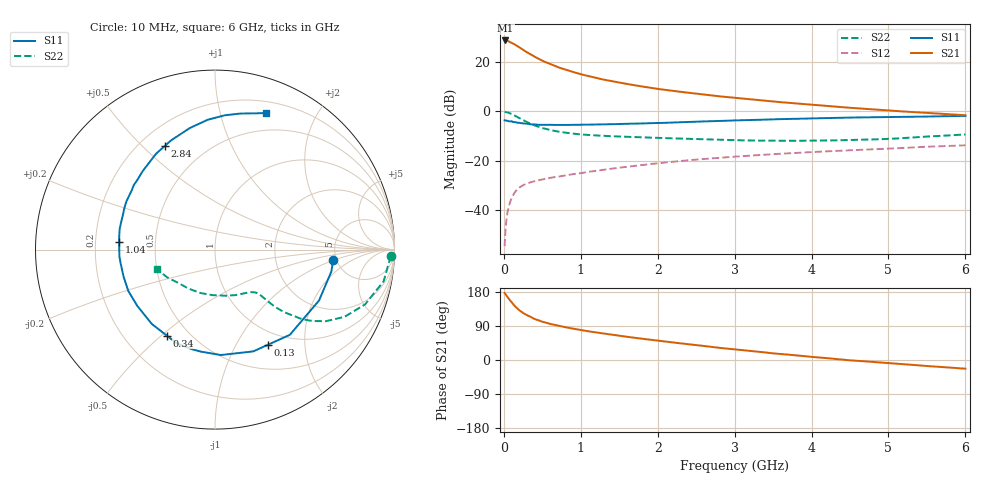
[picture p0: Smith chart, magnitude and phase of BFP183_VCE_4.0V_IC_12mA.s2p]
! Infineon Technologies  Discrete & RF Semiconductors
! BFP183
! VCE = 4.0 V,  IC =  12 mA
! Common Emitter S-Parameters:  Jan 2016
# GHz  S  MA  R  50
!  f  S11  S21  S12  S22
! GHz  MAG  ANG  MAG  ANG  MAG  ANG  MAG  ANG
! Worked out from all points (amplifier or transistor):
!   210 points, 10 MHz to 6 GHz, reference 50 ohm
!   highest |S21| = 28.9 dB at 20 MHz (marker M1)
!   |S21| within 3 dB of that: start of sweep to 211 MHz
!   unconditionally stable (mu >= 1): 1.103 GHz to 5.626 GHz
!   at 185 MHz: K = 0.28, MSG = 29.0 dB, |S12| = -31.5 dB
!   at 1.52 GHz: K = 1.10, MAG = 15.3 dB, |S12| = -22.8 dB
!   at 6 GHz: K = 0.95, MSG = 6.1 dB, |S12| = -13.8 dB
!   S11 on the Smith chart (normalised r, x): 10 MHz: 4.69, -0.96; 130 MHz: 0.81, -1.36; 340 MHz: 0.38, -0.52; 1.04 GHz: 0.30, +0.04; 2.84 GHz: 0.30, +0.59; 6 GHz: 0.31, +1.39
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0.01  0.6609 -5.0  27.87 176.9  0.0018 82.5  0.9815 -2.1
0.02  0.6597 -10.7  27.93 174.3  0.0035 89.6  0.972 -4.2
0.05  0.6454 -26.0  27.38 165.3  0.0093 80.0  0.9562 -10.6
0.07  0.6281 -34.9  26.32 160.3  0.0124 73.3  0.927 -14.2
0.1  0.632 -48.7  25.13 152.2  0.0171 67.9  0.8907 -20.0
0.13  0.6066 -60.9  23.61 145.6  0.0209 63.3  0.8427 -24.3
0.15  0.6059 -69.4  22.79 140.7  0.0235 61.1  0.8136 -27.4
0.2  0.5882 -86.9  20.33 131.4  0.0281 55.3  0.7348 -32.9
0.26  0.5698 -102.9  17.56 122.8  0.032 50.9  0.654 -37.1
0.34  0.5494 -119.2  14.8 114.6  0.0357 47.3  0.5711 -40.2
0.4  0.5437 -130.3  13.01 108.1  0.038 45.4  0.5183 -42.2
0.5  0.5346 -144.0  10.76 101.0  0.0413 43.1  0.4587 -43.7
0.6  0.5352 -154.4  9.253 95.3  0.0446 43.6  0.419 -44.2
1.02  0.5349 176.5  5.627 78.4  0.0559 45.1  0.3384 -45.8
1.04  0.5356 175.4  5.531 77.7  0.0567 45.2  0.3367 -46.0
1.5  0.5547 155.9  3.867 63.9  0.0716 46.0  0.3082 -50.3
2.02  0.582 137.6  2.853 50.6  0.0885 44.9  0.2894 -58.4
2.84  0.6423 115.6  2.006 31.3  0.1149 40.2  0.2652 -76.0
3.1  0.6613 109.8  1.828 26.2  0.1227 38.4  0.2578 -82.7
4.1  0.7288 91.7  1.333 6.6  0.1513 31.1  0.2549 -111.8
5.1  0.7734 78.6  1.019 -9.7  0.1775 24.3  0.281 -140.1
6  0.8116 69.7  0.837 -23.0  0.204 16.5  0.34 -161.2
